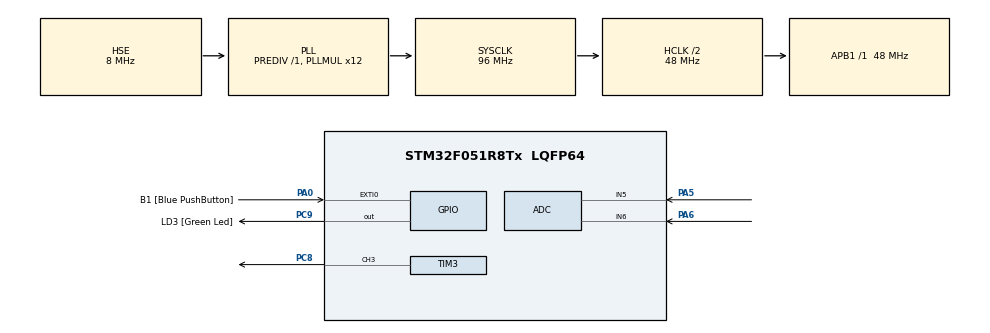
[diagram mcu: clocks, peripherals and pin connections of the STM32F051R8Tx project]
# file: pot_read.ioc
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ADC.ClockPrescaler=ADC_CLOCK_ASYNC_DIV1
ADC.ContinuousConvMode=ENABLE
ADC.DMAContinuousRequests=ENABLE
ADC.DataAlign=ADC_DATAALIGN_RIGHT
ADC.SamplingTime=ADC_SAMPLETIME_1CYCLE_5
Dma.ADC.0.Direction=DMA_PERIPH_TO_MEMORY
Dma.ADC.0.Instance=DMA1_Channel1
Dma.ADC.0.MemDataAlignment=DMA_MDATAALIGN_HALFWORD
Dma.ADC.0.MemInc=DMA_MINC_ENABLE
Dma.ADC.0.Mode=DMA_NORMAL
Dma.ADC.0.PeriphDataAlignment=DMA_PDATAALIGN_HALFWORD
Dma.ADC.0.PeriphInc=DMA_PINC_DISABLE
Dma.ADC.0.Priority=DMA_PRIORITY_LOW
Dma.Request0=ADC
Mcu.Family=STM32F0
Mcu.Name=STM32F051R8Tx
Mcu.Package=LQFP64
NVIC.ADC1_COMP_IRQn=true\:0\:0\:false\:false\:true\:true\:true\:true
NVIC.DMA1_Channel1_IRQn=true\:0\:0\:false\:false\:true\:false\:true\:true
NVIC.TIM3_IRQn=true\:0\:0\:false\:false\:true\:true\:true\:true
PA0.GPIO_Label=B1 [Blue PushButton]
PA0.GPIO_ModeDefaultEXTI=GPIO_MODE_EVT_RISING
PA0.Signal=GPXTI0
PA13.GPIO_Label=SWDIO
PA13.Mode=Serial_Wire
PA13.Signal=SYS_SWDIO
PA14.GPIO_Label=SWCLK
PA14.Mode=Serial_Wire
PA14.Signal=SYS_SWCLK
PA5.Mode=IN5
PA5.Signal=ADC_IN5
PA6.Mode=IN6
PA6.Signal=ADC_IN6
PC8.Signal=S_TIM3_CH3
PC9.GPIO_Label=LD3 [Green Led]
PC9.Signal=GPIO_Output
PF0-OSC_IN.Mode=HSE-External-Oscillator
PF0-OSC_IN.Signal=RCC_OSC_IN
PF1-OSC_OUT.Mode=HSE-External-Oscillator
PF1-OSC_OUT.Signal=RCC_OSC_OUT
ProjectManager.HeapSize=0x200
ProjectManager.StackSize=0x400
ProjectManager.TargetToolchain=STM32CubeIDE
RCC.AHBCLKDivider=RCC_SYSCLK_DIV2
RCC.AHBFreq_Value=48000000
RCC.APB1Freq_Value=48000000
RCC.APB1TimFreq_Value=48000000
RCC.EnbaleCSS=true
RCC.HCLKFreq_Value=48000000
RCC.PLLMUL=RCC_PLL_MUL12
RCC.PLLSourceVirtual=RCC_PLLSOURCE_HSE
RCC.SYSCLKFreq_VALUE=96000000
RCC.SYSCLKSource=RCC_SYSCLKSOURCE_PLLCLK
SH.S_TIM3_CH3.0=TIM3_CH3,PWM Generation3 CH3
TIM3.AutoReloadPreload=TIM_AUTORELOAD_PRELOAD_ENABLE
TIM3.Channel-PWM\ Generation3\ CH3=TIM_CHANNEL_3
TIM3.Period=1000
TIM3.Prescaler=48-1
VP_ADC_TempSens_Input.Mode=IN-TempSens
VP_TIM3_VS_ClockSourceINT.Mode=Internal
board=STM32F0DISCOVERY

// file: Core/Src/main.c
/* USER CODE BEGIN Header */
/**
  ******************************************************************************
  * @file           : main.c
  * @brief          : Main program body
  ******************************************************************************
  * @attention
  *
  * Copyright (c) 2022 STMicroelectronics.
  * All rights reserved.
  *
  * This software is licensed under terms that can be found in the LICENSE file
  * in the root directory of this software component.
  * If no LICENSE file comes with this software, it is provided AS-IS.
  *
  ******************************************************************************
  */
/* USER CODE END Header */
#include "main.h"

ADC_HandleTypeDef hadc;
DMA_HandleTypeDef hdma_adc;

TIM_HandleTypeDef htim3;

void SystemClock_Config(void);
static void MX_GPIO_Init(void);
static void MX_DMA_Init(void);
static void MX_ADC_Init(void);
static void MX_TIM3_Init(void);

/* USER CODE BEGIN 0 */

float potDeger;
float tempDeger;
float scale;
float val;

uint32_t value[3];

#define V25 1.43 // from datasheet
#define VSENSE 3.3/4096 // VSENSE value
#define Avg_Slope .0043 // 4.3mV from datasheet

float get_temp (uint32_t variable)
{
 return (((V25 - (variable*VSENSE)) / Avg_Slope) + 25); // formula from datasheet
}
/* USER CODE END 0 */

int main(void)
{

  /* MCU Configuration--------------------------------------------------------*/

  /* Reset of all peripherals, Initializes the Flash interface and the Systick. */
  HAL_Init();

  /* Configure the system clock */
  SystemClock_Config();

  /* Initialize all configured peripherals */
  MX_GPIO_Init();
  MX_DMA_Init();
  MX_ADC_Init();
  MX_TIM3_Init();
  /* USER CODE BEGIN 2 */
  HAL_TIM_PWM_Start(&htim3, TIM_CHANNEL_3); // pwm başlatıldı
  /* USER CODE END 2 */

  /* Infinite loop */
  /* USER CODE BEGIN WHILE */
  while (1)
  {
	  HAL_Delay(100);

	  HAL_ADC_Start(&hadc);
	  HAL_ADC_Start_DMA(&hdma_adc, value, 3);

	  val = HAL_ADC_GetValue(&hdma_adc);

	  tempDeger = get_temp(val); //sıcaklık sensorundeki veri alındı

	  potDeger = HAL_ADC_GetValue(&hadc); //potdaki anlık değer alındı
	  scale = (potDeger/4096)*100;

	  HAL_ADC_Stop(&hadc);
	  HAL_ADC_Stop_DMA(&hdma_adc);

	  __HAL_TIM_SET_COMPARE(&htim3,TIM_CHANNEL_3,scale); //pot degerine göre duty cycle değişiyor

    /* USER CODE END WHILE */

  }
}

void SystemClock_Config(void)
{
  RCC_OscInitTypeDef RCC_OscInitStruct = {0};
  RCC_ClkInitTypeDef RCC_ClkInitStruct = {0};

  /** Initializes the RCC Oscillators according to the specified parameters
  * in the RCC_OscInitTypeDef structure.
  */
  RCC_OscInitStruct.OscillatorType = RCC_OSCILLATORTYPE_HSI14|RCC_OSCILLATORTYPE_HSE;
  RCC_OscInitStruct.HSEState = RCC_HSE_ON;
  RCC_OscInitStruct.HSI14State = RCC_HSI14_ON;
  RCC_OscInitStruct.HSI14CalibrationValue = 16;
  RCC_OscInitStruct.PLL.PLLState = RCC_PLL_ON;
  RCC_OscInitStruct.PLL.PLLSource = RCC_PLLSOURCE_HSE;
  RCC_OscInitStruct.PLL.PLLMUL = RCC_PLL_MUL12;
  RCC_OscInitStruct.PLL.PREDIV = RCC_PREDIV_DIV1;
  if (HAL_RCC_OscConfig(&RCC_OscInitStruct) != HAL_OK)
  {
    Error_Handler();
  }

  /** Initializes the CPU, AHB and APB buses clocks
  */
  RCC_ClkInitStruct.ClockType = RCC_CLOCKTYPE_HCLK|RCC_CLOCKTYPE_SYSCLK
                              |RCC_CLOCKTYPE_PCLK1;
  RCC_ClkInitStruct.SYSCLKSource = RCC_SYSCLKSOURCE_PLLCLK;
  RCC_ClkInitStruct.AHBCLKDivider = RCC_SYSCLK_DIV2;
  RCC_ClkInitStruct.APB1CLKDivider = RCC_HCLK_DIV1;

  if (HAL_RCC_ClockConfig(&RCC_ClkInitStruct, FLASH_LATENCY_1) != HAL_OK)
  {
    Error_Handler();
  }

  /** Enables the Clock Security System
  */
  HAL_RCC_EnableCSS();
}

static void MX_ADC_Init(void)
{

  ADC_ChannelConfTypeDef sConfig = {0};

  /** Configure the global features of the ADC (Clock, Resolution, Data Alignment and number of conversion)
  */
  hadc.Instance = ADC1;
  hadc.Init.ClockPrescaler = ADC_CLOCK_ASYNC_DIV1;
  hadc.Init.Resolution = ADC_RESOLUTION_12B;
  hadc.Init.DataAlign = ADC_DATAALIGN_RIGHT;
  hadc.Init.ScanConvMode = ADC_SCAN_DIRECTION_FORWARD;
  hadc.Init.EOCSelection = ADC_EOC_SINGLE_CONV;
  hadc.Init.LowPowerAutoWait = DISABLE;
  hadc.Init.LowPowerAutoPowerOff = DISABLE;
  hadc.Init.ContinuousConvMode = ENABLE;
  hadc.Init.DiscontinuousConvMode = DISABLE;
  hadc.Init.ExternalTrigConv = ADC_SOFTWARE_START;
  hadc.Init.ExternalTrigConvEdge = ADC_EXTERNALTRIGCONVEDGE_NONE;
  hadc.Init.DMAContinuousRequests = ENABLE;
  hadc.Init.Overrun = ADC_OVR_DATA_PRESERVED;
  if (HAL_ADC_Init(&hadc) != HAL_OK)
  {
    Error_Handler();
  }

  /** Configure for the selected ADC regular channel to be converted.
  */
  sConfig.Channel = ADC_CHANNEL_5;
  sConfig.Rank = ADC_RANK_CHANNEL_NUMBER;
  sConfig.SamplingTime = ADC_SAMPLETIME_1CYCLE_5;
  if (HAL_ADC_ConfigChannel(&hadc, &sConfig) != HAL_OK)
  {
    Error_Handler();
  }

  /** Configure for the selected ADC regular channel to be converted.
  */
  sConfig.Channel = ADC_CHANNEL_6;
  if (HAL_ADC_ConfigChannel(&hadc, &sConfig) != HAL_OK)
  {
    Error_Handler();
  }

  /** Configure for the selected ADC regular channel to be converted.
  */
  sConfig.Channel = ADC_CHANNEL_TEMPSENSOR;
  if (HAL_ADC_ConfigChannel(&hadc, &sConfig) != HAL_OK)
  {
    Error_Handler();
  }

}

static void MX_TIM3_Init(void)
{

  TIM_ClockConfigTypeDef sClockSourceConfig = {0};
  TIM_MasterConfigTypeDef sMasterConfig = {0};
  TIM_OC_InitTypeDef sConfigOC = {0};

  htim3.Instance = TIM3;
  htim3.Init.Prescaler = 48-1;
  htim3.Init.CounterMode = TIM_COUNTERMODE_UP;
  htim3.Init.Period = 1000;
  htim3.Init.ClockDivision = TIM_CLOCKDIVISION_DIV1;
  htim3.Init.AutoReloadPreload = TIM_AUTORELOAD_PRELOAD_ENABLE;
  if (HAL_TIM_Base_Init(&htim3) != HAL_OK)
  {
    Error_Handler();
  }
  sClockSourceConfig.ClockSource = TIM_CLOCKSOURCE_INTERNAL;
  if (HAL_TIM_ConfigClockSource(&htim3, &sClockSourceConfig) != HAL_OK)
  {
    Error_Handler();
  }
  if (HAL_TIM_PWM_Init(&htim3) != HAL_OK)
  {
    Error_Handler();
  }
  sMasterConfig.MasterOutputTrigger = TIM_TRGO_RESET;
  sMasterConfig.MasterSlaveMode = TIM_MASTERSLAVEMODE_DISABLE;
  if (HAL_TIMEx_MasterConfigSynchronization(&htim3, &sMasterConfig) != HAL_OK)
  {
    Error_Handler();
  }
  sConfigOC.OCMode = TIM_OCMODE_PWM1;
  sConfigOC.Pulse = 0;
  sConfigOC.OCPolarity = TIM_OCPOLARITY_HIGH;
  sConfigOC.OCFastMode = TIM_OCFAST_DISABLE;
  if (HAL_TIM_PWM_ConfigChannel(&htim3, &sConfigOC, TIM_CHANNEL_3) != HAL_OK)
  {
    Error_Handler();
  }
  HAL_TIM_MspPostInit(&htim3);

}

static void MX_DMA_Init(void)
{

  /* DMA controller clock enable */
  __HAL_RCC_DMA1_CLK_ENABLE();

  /* DMA interrupt init */
  /* DMA1_Channel1_IRQn interrupt configuration */
  HAL_NVIC_SetPriority(DMA1_Channel1_IRQn, 0, 0);
  HAL_NVIC_EnableIRQ(DMA1_Channel1_IRQn);

}

static void MX_GPIO_Init(void)
{
  GPIO_InitTypeDef GPIO_InitStruct = {0};

  /* GPIO Ports Clock Enable */
  __HAL_RCC_GPIOF_CLK_ENABLE();
  __HAL_RCC_GPIOA_CLK_ENABLE();
  __HAL_RCC_GPIOC_CLK_ENABLE();

  /*Configure GPIO pin Output Level */
  HAL_GPIO_WritePin(LD3_GPIO_Port, LD3_Pin, GPIO_PIN_RESET);

  /*Configure GPIO pin : B1_Pin */
  GPIO_InitStruct.Pin = B1_Pin;
  GPIO_InitStruct.Mode = GPIO_MODE_EVT_RISING;
  GPIO_InitStruct.Pull = GPIO_NOPULL;
  HAL_GPIO_Init(B1_GPIO_Port, &GPIO_InitStruct);

  /*Configure GPIO pin : LD3_Pin */
  GPIO_InitStruct.Pin = LD3_Pin;
  GPIO_InitStruct.Mode = GPIO_MODE_OUTPUT_PP;
  GPIO_InitStruct.Pull = GPIO_NOPULL;
  GPIO_InitStruct.Speed = GPIO_SPEED_FREQ_LOW;
  HAL_GPIO_Init(LD3_GPIO_Port, &GPIO_InitStruct);

}

void Error_Handler(void)
{
  __disable_irq();
  while (1)
  {
  }
}
